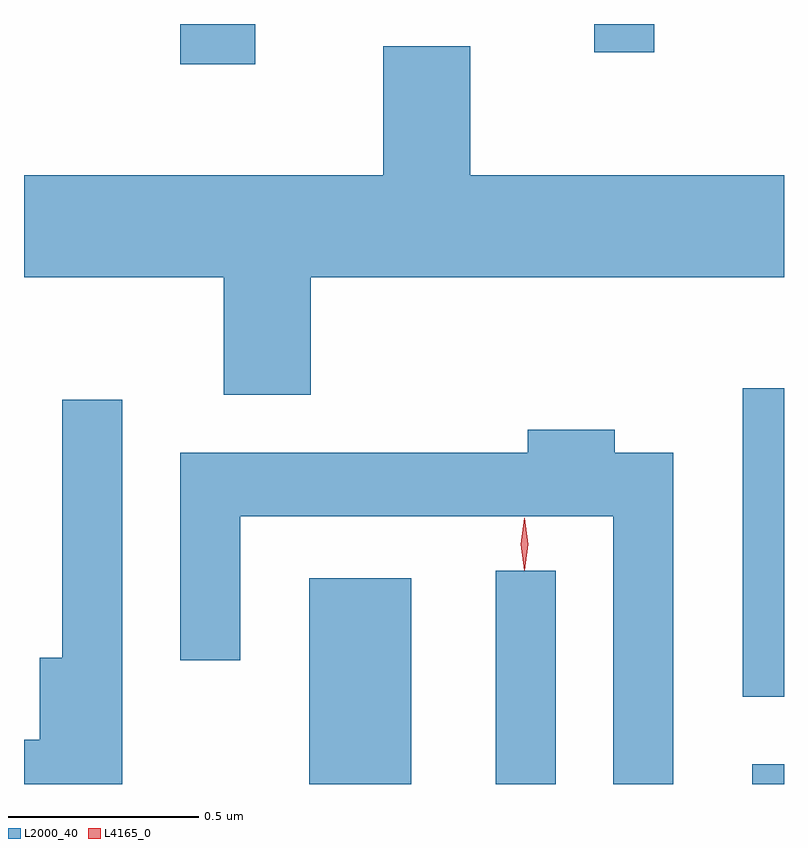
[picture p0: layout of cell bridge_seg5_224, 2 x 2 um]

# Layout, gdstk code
import gdstk
lib = gdstk.Library(unit=1e-6, precision=1e-09)
def R(c, l, rs):  # rectangles x0, y0, x1, y1
    for r in rs: c.add(gdstk.rectangle(r[:2], r[2:], *l))
def P(c, l, *ps):  # polygons
    for p in ps: c.add(gdstk.Polygon(p, *l))
L2000_40 = (2000, 40)
L4165_0 = (4165, 0)

bridge_seg5_224 = lib.new_cell('bridge_seg5_224')
R(bridge_seg5_224, L2000_40, [(1269.396,1417.722,1269.664,1418.264), (1269.886,1417.722,1270.044,1418.283), (1270.561,1417.722,1270.645,1417.774), (1270.536,1417.951,1270.645,1418.764), (1269.056,1419.616,1269.254,1419.722), (1270.146,1419.648,1270.304,1419.722)])
P(bridge_seg5_224, L2000_40, [(1269.399,1419.056),(1270.645,1419.056),(1270.645,1419.324),(1269.819,1419.324),(1269.819,1419.664),(1269.591,1419.664),(1269.591,1419.324),(1268.645,1419.324),(1268.645,1419.056),(1269.171,1419.056),(1269.171,1418.746),(1269.399,1418.746)],
  [(1268.904,1418.733),(1268.746,1418.733),(1268.746,1418.054),(1268.686,1418.054),(1268.686,1417.839),(1268.645,1417.839),(1268.645,1417.722),(1268.904,1417.722)],
  [(1270.354,1418.594),(1270.199,1418.594),(1270.199,1418.654),(1269.971,1418.654),(1269.971,1418.594),(1269.056,1418.594),(1269.056,1418.048),(1269.214,1418.048),(1269.214,1418.426),(1270.196,1418.426),(1270.196,1417.722),(1270.354,1417.722)])
P(bridge_seg5_224, L4165_0, [(1269.962,1418.283),(1269.962,1418.284),(1269.952,1418.353),(1269.962,1418.422),(1269.962,1418.423),(1269.963,1418.422),(1269.972,1418.353),(1269.963,1418.284)])

lib.write_gds('bridge_seg5_224.gds')
